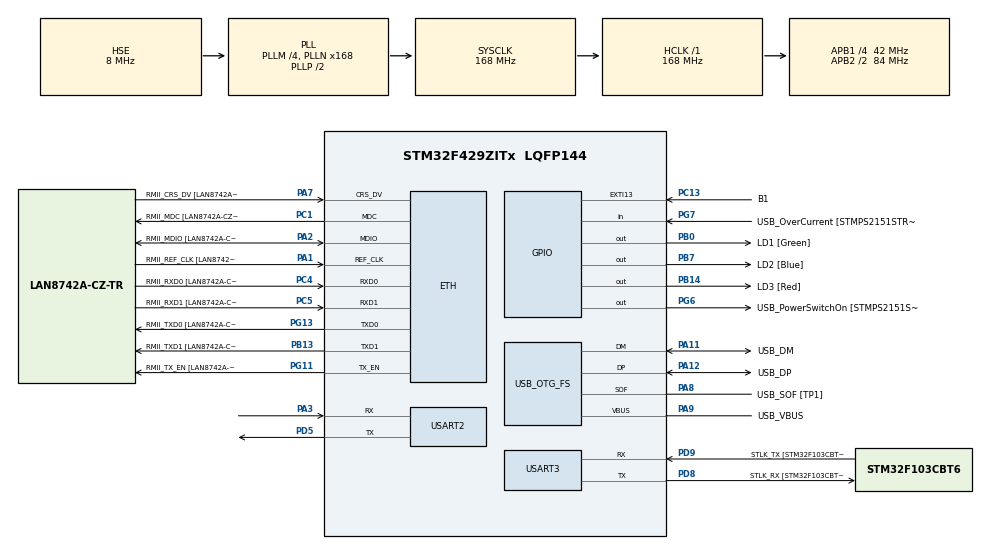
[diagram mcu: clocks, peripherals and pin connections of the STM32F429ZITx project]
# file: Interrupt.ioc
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Dma.Request0=USART2_RX
Dma.USART2_RX.0.Direction=DMA_PERIPH_TO_MEMORY
Dma.USART2_RX.0.FIFOMode=DMA_FIFOMODE_DISABLE
Dma.USART2_RX.0.Instance=DMA1_Stream5
Dma.USART2_RX.0.MemDataAlignment=DMA_MDATAALIGN_BYTE
Dma.USART2_RX.0.MemInc=DMA_MINC_ENABLE
Dma.USART2_RX.0.Mode=DMA_NORMAL
Dma.USART2_RX.0.PeriphDataAlignment=DMA_PDATAALIGN_BYTE
Dma.USART2_RX.0.PeriphInc=DMA_PINC_DISABLE
Dma.USART2_RX.0.Priority=DMA_PRIORITY_LOW
ETH.MediaInterface=HAL_ETH_RMII_MODE
ETH.PHY_Name=LAN8742A_PHY_ADDRESS
ETH.PHY_Value=0
ETH.PhyAddress=0
Mcu.Family=STM32F4
Mcu.Name=STM32F429ZITx
Mcu.Package=LQFP144
NVIC.DMA1_Stream5_IRQn=true\:0\:0\:false\:false\:true\:false\:true\:true
NVIC.EXTI15_10_IRQn=true\:0\:0\:false\:false\:true\:true\:true\:true
NVIC.PriorityGroup=NVIC_PRIORITYGROUP_4
NVIC.USART2_IRQn=true\:0\:0\:false\:false\:true\:true\:true\:true
PA1.GPIO_Label=RMII_REF_CLK [LAN8742A-CZ-TR_REFCLK0]
PA1.Mode=RMII
PA1.Signal=ETH_REF_CLK
PA10.GPIO_Label=USB_ID
PA10.Signal=USB_OTG_FS_ID
PA11.GPIO_Label=USB_DM
PA11.Mode=Device_Only
PA11.Signal=USB_OTG_FS_DM
PA12.GPIO_Label=USB_DP
PA12.Mode=Device_Only
PA12.Signal=USB_OTG_FS_DP
PA13.GPIO_Label=TMS
PA13.Mode=Serial_Wire
PA13.Signal=SYS_JTMS-SWDIO
PA14.GPIO_Label=TCK
PA14.Mode=Serial_Wire
PA14.Signal=SYS_JTCK-SWCLK
PA2.GPIO_Label=RMII_MDIO [LAN8742A-CZ-TR_MDIO]
PA2.Mode=RMII
PA2.Signal=ETH_MDIO
PA3.Mode=Asynchronous
PA3.Signal=USART2_RX
PA7.GPIO_Label=RMII_CRS_DV [LAN8742A-CZ-TR_CRS_DV]
PA7.Mode=RMII
PA7.Signal=ETH_CRS_DV
PA8.GPIO_Label=USB_SOF [TP1]
PA8.Mode=Activate_SOF_FS
PA8.Signal=USB_OTG_FS_SOF
PA9.GPIO_Label=USB_VBUS
PA9.Mode=Activate_VBUS
PA9.Signal=USB_OTG_FS_VBUS
PB0.GPIO_Label=LD1 [Green]
PB0.Signal=GPIO_Output
PB13.GPIO_Label=RMII_TXD1 [LAN8742A-CZ-TR_TXD1]
PB13.Mode=RMII
PB13.Signal=ETH_TXD1
PB14.GPIO_Label=LD3 [Red]
PB14.Signal=GPIO_Output
PB7.GPIO_Label=LD2 [Blue]
PB7.PinState=GPIO_PIN_RESET
PB7.Signal=GPIO_Output
PC1.GPIO_Label=RMII_MDC [LAN8742A-CZ-TR_MDC]
PC1.Mode=RMII
PC1.Signal=ETH_MDC
PC13.GPIO_Label=B1
PC13.Signal=GPXTI13
PC14/OSC32_IN.Mode=LSE-External-Oscillator
PC14/OSC32_IN.Signal=RCC_OSC32_IN
PC15/OSC32_OUT.Mode=LSE-External-Oscillator
PC15/OSC32_OUT.Signal=RCC_OSC32_OUT
PC4.GPIO_Label=RMII_RXD0 [LAN8742A-CZ-TR_RXD0]
PC4.Mode=RMII
PC4.Signal=ETH_RXD0
PC5.GPIO_Label=RMII_RXD1 [LAN8742A-CZ-TR_RXD1]
PC5.Mode=RMII
PC5.Signal=ETH_RXD1
PD5.Mode=Asynchronous
PD5.Signal=USART2_TX
PD8.GPIO_Label=STLK_RX [STM32F103CBT6_PA3]
PD8.Mode=Asynchronous
PD8.Signal=USART3_TX
PD9.GPIO_Label=STLK_TX [STM32F103CBT6_PA2]
PD9.Mode=Asynchronous
PD9.Signal=USART3_RX
PG11.GPIO_Label=RMII_TX_EN [LAN8742A-CZ-TR_TXEN]
PG11.Mode=RMII
PG11.Signal=ETH_TX_EN
PG13.GPIO_Label=RMII_TXD0 [LAN8742A-CZ-TR_TXD0]
PG13.Mode=RMII
PG13.Signal=ETH_TXD0
PG6.GPIO_Label=USB_PowerSwitchOn [STMPS2151STR_EN]
PG6.Signal=GPIO_Output
PG7.GPIO_Label=USB_OverCurrent [STMPS2151STR_FAULT]
PG7.Signal=GPIO_Input
PH0/OSC_IN.GPIO_Label=MCO [STM32F103CBT6_PA8]
PH0/OSC_IN.Mode=HSE-External-Clock-Source
PH0/OSC_IN.Signal=RCC_OSC_IN
PH1/OSC_OUT.Mode=HSE-External-Clock-Source
PH1/OSC_OUT.Signal=RCC_OSC_OUT
ProjectManager.HeapSize=0x200
ProjectManager.StackSize=0x400
ProjectManager.TargetToolchain=STM32CubeIDE
RCC.48MHZClocksFreq_Value=48000000
RCC.AHBFreq_Value=168000000
RCC.APB1CLKDivider=RCC_HCLK_DIV4
RCC.APB1Freq_Value=42000000
RCC.APB1TimFreq_Value=84000000
RCC.APB2CLKDivider=RCC_HCLK_DIV2
RCC.APB2Freq_Value=84000000
RCC.APB2TimCLKDivider=2
RCC.APB2TimFreq_Value=168000000
RCC.CortexFreq_Value=168000000
RCC.HCLKFreq_Value=168000000
RCC.HSE_VALUE=8000000
RCC.HSI_VALUE=16000000
RCC.PLLM=4
RCC.PLLMUL=RCC_PLL_MUL9
RCC.PLLN=168
RCC.PLLQ=7
RCC.PRESCALERUSB=RCC_USBCLKSOURCE_PLL_DIV1_5
RCC.SYSCLKFreq_VALUE=168000000
RCC.SYSCLKSource=RCC_SYSCLKSOURCE_PLLCLK
RCC.SYSCLKSourceVirtual=RCC_SYSCLKSOURCE_PLLCLK
RCC.USBFreq_Value=48000000
RCC.VCOOutputFreq_Value=336000000
USART2.VirtualMode=VM_ASYNC
USART3.VirtualMode=VM_ASYNC
USB_OTG_FS.VirtualMode=Device_Only
board=NUCLEO-F429ZI

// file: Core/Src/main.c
/* USER CODE BEGIN Header */
/**
  ******************************************************************************
  * @file           : main.c
  * @brief          : Main program body
  ******************************************************************************
  * @attention
  *
  * Copyright (c) 2022 STMicroelectronics.
  * All rights reserved.
  *
  * This software is licensed under terms that can be found in the LICENSE file
  * in the root directory of this software component.
  * If no LICENSE file comes with this software, it is provided AS-IS.
  *
  ******************************************************************************
  */
/* USER CODE END Header */
#include "main.h"
#include "string.h"

ETH_TxPacketConfig TxConfig;
ETH_DMADescTypeDef  DMARxDscrTab[ETH_RX_DESC_CNT]; /* Ethernet Rx DMA Descriptors */
ETH_DMADescTypeDef  DMATxDscrTab[ETH_TX_DESC_CNT]; /* Ethernet Tx DMA Descriptors */

 ETH_HandleTypeDef heth;

UART_HandleTypeDef huart2;
UART_HandleTypeDef huart3;
DMA_HandleTypeDef hdma_usart2_rx;

PCD_HandleTypeDef hpcd_USB_OTG_FS;

void SystemClock_Config(void);
static void MX_GPIO_Init(void);
static void MX_ETH_Init(void);
static void MX_DMA_Init(void);
static void MX_USB_OTG_FS_PCD_Init(void);
static void MX_USART2_UART_Init(void);
static void MX_USART3_UART_Init(void);

/* USER CODE BEGIN 0 */

#define RxBuf_SIZE 5
#define MainBuf_SIZE 10

uint8_t RxBuf[RxBuf_SIZE];
uint8_t MainBuf[MainBuf_SIZE];

void HAL_UARTEx_RxEventCallback(UART_HandleTypeDef *huart, uint16_t Size){ // data reception bittikten sonra
	                                                                       // bunlar yapılacak :
	if(huart->Instance == USART2){
		memcpy(MainBuf,RxBuf,Size);

		 HAL_UARTEx_ReceiveToIdle_IT(&huart2, RxBuf, RxBuf_SIZE);

		 HAL_UART_Transmit(&huart2, RxBuf, RxBuf_SIZE, 100);

		  __HAL_DMA_DISABLE_IT(&hdma_usart2_rx,DMA_IT_HT);

	}

}

/* USER CODE END 0 */

int main(void)
{

  /* MCU Configuration--------------------------------------------------------*/

  /* Reset of all peripherals, Initializes the Flash interface and the Systick. */
  HAL_Init();

  /* Configure the system clock */
  SystemClock_Config();

  /* Initialize all configured peripherals */
  MX_GPIO_Init();
  MX_ETH_Init();
  MX_DMA_Init();
  MX_USB_OTG_FS_PCD_Init();
  MX_USART2_UART_Init();
  MX_USART3_UART_Init();
  /* USER CODE BEGIN 2 */

  HAL_UART_Receive_IT(&huart2, RxBuf, RxBuf_SIZE);
  //HAL_UART_Transmit_IT(&huart2, RxBuf, RxBuf_SIZE);

  /* USER CODE END 2 */

  /* Infinite loop */
  while (1)
  {

	  uint8_t a[5]="green";

	  HAL_UART_Transmit(&huart2,a,5,1000);

	  HAL_Delay(1000);

  }
}

void SystemClock_Config(void)
{
  RCC_OscInitTypeDef RCC_OscInitStruct = {0};
  RCC_ClkInitTypeDef RCC_ClkInitStruct = {0};

  /** Configure the main internal regulator output voltage
  */
  __HAL_RCC_PWR_CLK_ENABLE();
  __HAL_PWR_VOLTAGESCALING_CONFIG(PWR_REGULATOR_VOLTAGE_SCALE1);

  /** Initializes the RCC Oscillators according to the specified parameters
  * in the RCC_OscInitTypeDef structure.
  */
  RCC_OscInitStruct.OscillatorType = RCC_OSCILLATORTYPE_HSE;
  RCC_OscInitStruct.HSEState = RCC_HSE_BYPASS;
  RCC_OscInitStruct.PLL.PLLState = RCC_PLL_ON;
  RCC_OscInitStruct.PLL.PLLSource = RCC_PLLSOURCE_HSE;
  RCC_OscInitStruct.PLL.PLLM = 4;
  RCC_OscInitStruct.PLL.PLLN = 168;
  RCC_OscInitStruct.PLL.PLLP = RCC_PLLP_DIV2;
  RCC_OscInitStruct.PLL.PLLQ = 7;
  if (HAL_RCC_OscConfig(&RCC_OscInitStruct) != HAL_OK)
  {
    Error_Handler();
  }

  /** Initializes the CPU, AHB and APB buses clocks
  */
  RCC_ClkInitStruct.ClockType = RCC_CLOCKTYPE_HCLK|RCC_CLOCKTYPE_SYSCLK
                              |RCC_CLOCKTYPE_PCLK1|RCC_CLOCKTYPE_PCLK2;
  RCC_ClkInitStruct.SYSCLKSource = RCC_SYSCLKSOURCE_PLLCLK;
  RCC_ClkInitStruct.AHBCLKDivider = RCC_SYSCLK_DIV1;
  RCC_ClkInitStruct.APB1CLKDivider = RCC_HCLK_DIV4;
  RCC_ClkInitStruct.APB2CLKDivider = RCC_HCLK_DIV2;

  if (HAL_RCC_ClockConfig(&RCC_ClkInitStruct, FLASH_LATENCY_5) != HAL_OK)
  {
    Error_Handler();
  }
}

static void MX_ETH_Init(void)
{

   static uint8_t MACAddr[6];

  heth.Instance = ETH;
  MACAddr[0] = 0x00;
  MACAddr[1] = 0x80;
  MACAddr[2] = 0xE1;
  MACAddr[3] = 0x00;
  MACAddr[4] = 0x00;
  MACAddr[5] = 0x00;
  heth.Init.MACAddr = &MACAddr[0];
  heth.Init.MediaInterface = HAL_ETH_RMII_MODE;
  heth.Init.TxDesc = DMATxDscrTab;
  heth.Init.RxDesc = DMARxDscrTab;
  heth.Init.RxBuffLen = 1524;

  if (HAL_ETH_Init(&heth) != HAL_OK)
  {
    Error_Handler();
  }

  memset(&TxConfig, 0 , sizeof(ETH_TxPacketConfig));
  TxConfig.Attributes = ETH_TX_PACKETS_FEATURES_CSUM | ETH_TX_PACKETS_FEATURES_CRCPAD;
  TxConfig.ChecksumCtrl = ETH_CHECKSUM_IPHDR_PAYLOAD_INSERT_PHDR_CALC;
  TxConfig.CRCPadCtrl = ETH_CRC_PAD_INSERT;

}

static void MX_USART2_UART_Init(void)
{

  huart2.Instance = USART2;
  huart2.Init.BaudRate = 115200;
  huart2.Init.WordLength = UART_WORDLENGTH_8B;
  huart2.Init.StopBits = UART_STOPBITS_1;
  huart2.Init.Parity = UART_PARITY_NONE;
  huart2.Init.Mode = UART_MODE_TX_RX;
  huart2.Init.HwFlowCtl = UART_HWCONTROL_NONE;
  huart2.Init.OverSampling = UART_OVERSAMPLING_16;
  if (HAL_UART_Init(&huart2) != HAL_OK)
  {
    Error_Handler();
  }

}

static void MX_USART3_UART_Init(void)
{

  huart3.Instance = USART3;
  huart3.Init.BaudRate = 115200;
  huart3.Init.WordLength = UART_WORDLENGTH_8B;
  huart3.Init.StopBits = UART_STOPBITS_1;
  huart3.Init.Parity = UART_PARITY_NONE;
  huart3.Init.Mode = UART_MODE_TX_RX;
  huart3.Init.HwFlowCtl = UART_HWCONTROL_NONE;
  huart3.Init.OverSampling = UART_OVERSAMPLING_16;
  if (HAL_UART_Init(&huart3) != HAL_OK)
  {
    Error_Handler();
  }

}

static void MX_USB_OTG_FS_PCD_Init(void)
{

  hpcd_USB_OTG_FS.Instance = USB_OTG_FS;
  hpcd_USB_OTG_FS.Init.dev_endpoints = 4;
  hpcd_USB_OTG_FS.Init.speed = PCD_SPEED_FULL;
  hpcd_USB_OTG_FS.Init.dma_enable = DISABLE;
  hpcd_USB_OTG_FS.Init.phy_itface = PCD_PHY_EMBEDDED;
  hpcd_USB_OTG_FS.Init.Sof_enable = ENABLE;
  hpcd_USB_OTG_FS.Init.low_power_enable = DISABLE;
  hpcd_USB_OTG_FS.Init.lpm_enable = DISABLE;
  hpcd_USB_OTG_FS.Init.vbus_sensing_enable = ENABLE;
  hpcd_USB_OTG_FS.Init.use_dedicated_ep1 = DISABLE;
  if (HAL_PCD_Init(&hpcd_USB_OTG_FS) != HAL_OK)
  {
    Error_Handler();
  }

}

static void MX_DMA_Init(void)
{

  /* DMA controller clock enable */
  __HAL_RCC_DMA1_CLK_ENABLE();

  /* DMA interrupt init */
  /* DMA1_Stream5_IRQn interrupt configuration */
  HAL_NVIC_SetPriority(DMA1_Stream5_IRQn, 0, 0);
  HAL_NVIC_EnableIRQ(DMA1_Stream5_IRQn);

}

static void MX_GPIO_Init(void)
{
  GPIO_InitTypeDef GPIO_InitStruct = {0};

  /* GPIO Ports Clock Enable */
  __HAL_RCC_GPIOC_CLK_ENABLE();
  __HAL_RCC_GPIOH_CLK_ENABLE();
  __HAL_RCC_GPIOA_CLK_ENABLE();
  __HAL_RCC_GPIOB_CLK_ENABLE();
  __HAL_RCC_GPIOD_CLK_ENABLE();
  __HAL_RCC_GPIOG_CLK_ENABLE();

  /*Configure GPIO pin Output Level */
  HAL_GPIO_WritePin(GPIOB, LD1_Pin|LD3_Pin|LD2_Pin, GPIO_PIN_RESET);

  /*Configure GPIO pin Output Level */
  HAL_GPIO_WritePin(USB_PowerSwitchOn_GPIO_Port, USB_PowerSwitchOn_Pin, GPIO_PIN_RESET);

  /*Configure GPIO pin : B1_Pin */
  GPIO_InitStruct.Pin = B1_Pin;
  GPIO_InitStruct.Mode = GPIO_MODE_IT_RISING;
  GPIO_InitStruct.Pull = GPIO_NOPULL;
  HAL_GPIO_Init(B1_GPIO_Port, &GPIO_InitStruct);

  /*Configure GPIO pins : LD1_Pin LD3_Pin LD2_Pin */
  GPIO_InitStruct.Pin = LD1_Pin|LD3_Pin|LD2_Pin;
  GPIO_InitStruct.Mode = GPIO_MODE_OUTPUT_PP;
  GPIO_InitStruct.Pull = GPIO_NOPULL;
  GPIO_InitStruct.Speed = GPIO_SPEED_FREQ_LOW;
  HAL_GPIO_Init(GPIOB, &GPIO_InitStruct);

  /*Configure GPIO pin : USB_PowerSwitchOn_Pin */
  GPIO_InitStruct.Pin = USB_PowerSwitchOn_Pin;
  GPIO_InitStruct.Mode = GPIO_MODE_OUTPUT_PP;
  GPIO_InitStruct.Pull = GPIO_NOPULL;
  GPIO_InitStruct.Speed = GPIO_SPEED_FREQ_LOW;
  HAL_GPIO_Init(USB_PowerSwitchOn_GPIO_Port, &GPIO_InitStruct);

  /*Configure GPIO pin : USB_OverCurrent_Pin */
  GPIO_InitStruct.Pin = USB_OverCurrent_Pin;
  GPIO_InitStruct.Mode = GPIO_MODE_INPUT;
  GPIO_InitStruct.Pull = GPIO_NOPULL;
  HAL_GPIO_Init(USB_OverCurrent_GPIO_Port, &GPIO_InitStruct);

  /* EXTI interrupt init*/
  HAL_NVIC_SetPriority(EXTI15_10_IRQn, 0, 0);
  HAL_NVIC_EnableIRQ(EXTI15_10_IRQn);

}

/* USER CODE BEGIN 4 */

// okuma yap. receive

void HAL_GPIO_EXTI_Callback(uint16_t GPIO_Pin){

	if (GPIO_Pin==B1_GPIO_Port){                      // button yerine "red" (3) "blue" (4) "green" (5)
		HAL_GPIO_TogglePin(LD2_GPIO_Port,LD2_Pin);
	}else{
		__NOP();
	}

}
/* USER CODE END 4 */

void Error_Handler(void)
{
  __disable_irq();
  while (1)
  {
  }
}
